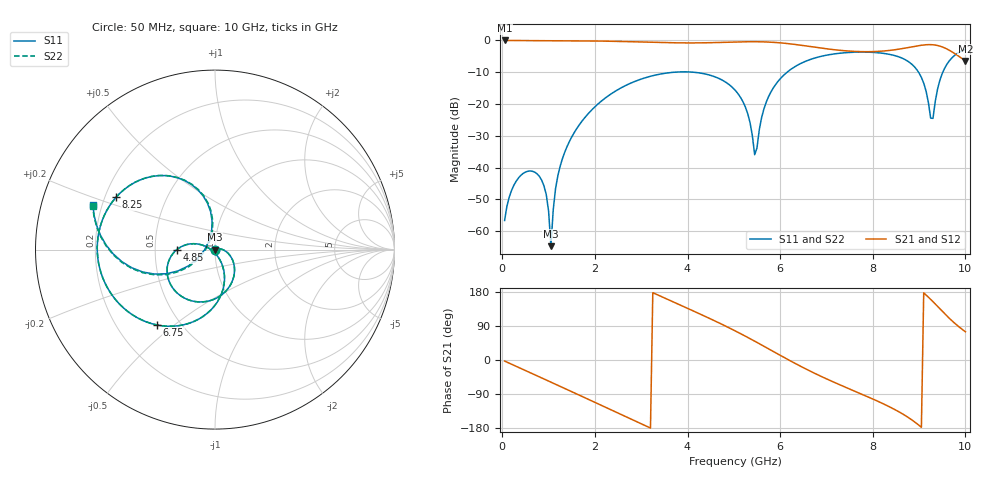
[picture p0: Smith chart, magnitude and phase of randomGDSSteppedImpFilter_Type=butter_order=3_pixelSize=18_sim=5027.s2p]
! freq	dB(S11)	phase(S11)	dB(S12)	phase(S12)
!  dB(S21)	phase(S21)	dB(S22)	phase(S22)
!S-par simulation data
#  GHz  S  DB  R 50
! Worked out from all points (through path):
!   200 points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, 50 MHz to 10 GHz, reference 50 ohm
!   highest |S21| = 0.00 dB at 50 MHz (marker M1); lowest = -6.4 dB at 10 GHz (marker M2)
!   group delay of S21, straight-line fit = 169 ps
!   lowest |S11| = -64.7 dB at 1.05 GHz (marker M3), VSWR 1.00, Z = 50 + j0.0375 ohm
!   |S11| at or under -10 dB: start of sweep to 3.711 GHz; 4.13 GHz to 6.15 GHz (2.02 GHz wide, 39.3 % of centre); 8.988 GHz to 9.512 GHz (524.4 MHz wide, 5.67 % of centre)
!   |S22| runs from -63.8 to -2.8 dB; largest |S21 - S12| = 0
!   S11 on the Smith chart (normalised r, x): 50 MHz: 1.00, -0.00; 4.85 GHz: 0.65, -0.00; 6.75 GHz: 0.37, -0.44; 8.25 GHz: 0.25, +0.23; 10 GHz: 0.17, +0.17
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0.05  -56.63 -75.5  -0.00 -2.8  -0.00 -2.8  -56.62 -73.7
0.3  -44.26 -101.9  -0.03 -16.7  -0.03 -16.7  -44.26 -102.0
0.7  -41.42 -128.9  -0.05 -38.9  -0.05 -38.9  -41.42 -129.2
0.95  -48.54 -146.1  -0.07 -52.8  -0.07 -52.8  -48.53 -147.6
1.05  -64.71 139.8  -0.07 -58.4  -0.07 -58.4  -63.82 135.9
1.15  -46.61 30.0  -0.08 -64.0  -0.08 -64.0  -46.59 31.7
1.25  -39.54 22.3  -0.08 -69.6  -0.08 -69.6  -39.53 23.2
1.75  -24.84 -7.4  -0.13 -97.7  -0.13 -97.7  -24.84 -7.2
3.4  -10.61 -100.6  -0.65 169.3  -0.65 169.3  -10.61 -100.5
4.85  -13.38 -179.7  -0.57 87.8  -0.57 87.8  -13.38 -179.5
5.05  -16.02 169.5  -0.48 75.5  -0.48 75.5  -16.02 169.8
5.3  -23.06 160.2  -0.41 59.6  -0.41 59.6  -23.04 160.6
5.45  -35.94 -157.2  -0.40 49.7  -0.40 49.7  -35.68 -156.3
5.85  -14.99 -72.6  -0.58 22.6  -0.58 22.6  -14.99 -72.8
6.7  -5.74 -124.6  -2.02 -32.5  -2.02 -32.5  -5.74 -124.7
6.75  -5.52 -127.6  -2.12 -35.4  -2.12 -35.4  -5.52 -127.6
8.25  -4.10 152.1  -3.30 -116.9  -3.30 -116.9  -4.10 152.0
8.35  -4.34 146.4  -3.16 -122.8  -3.16 -122.8  -4.35 146.2
8.95  -9.17 106.1  -1.73 -167.7  -1.73 -167.7  -9.18 105.5
9.3  -24.51 -176.8  -1.36 153.9  -1.36 153.9  -25.11 -174.0
9.55  -8.79 -158.0  -2.33 122.4  -2.33 122.4  -8.80 -157.1
10  -2.81 160.1  -6.44 74.6  -6.44 74.6  -2.81 160.4
